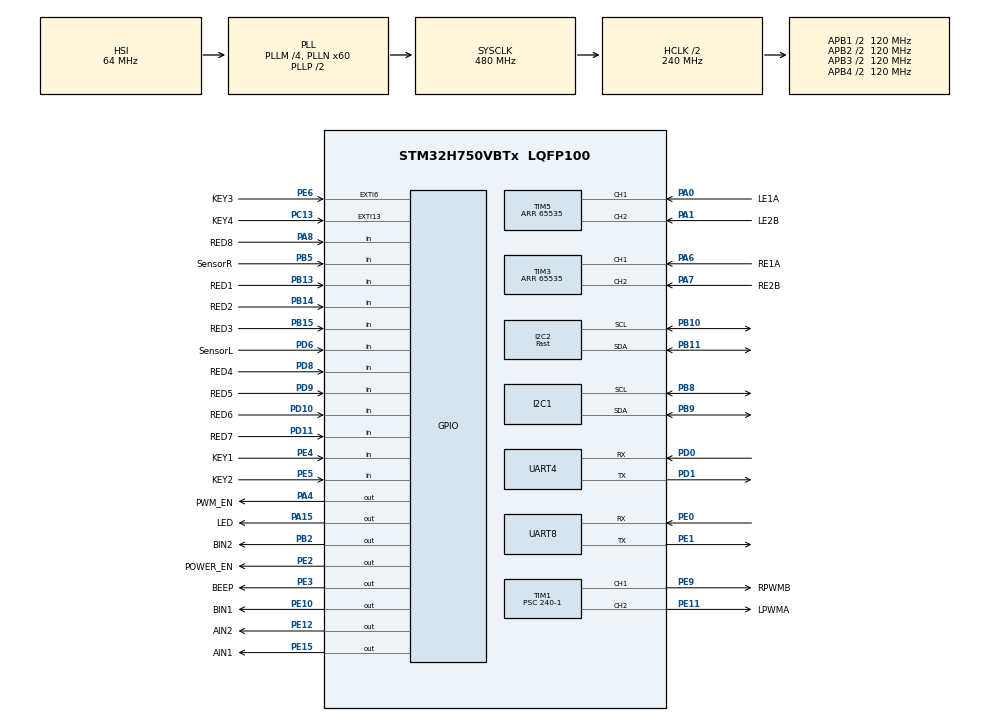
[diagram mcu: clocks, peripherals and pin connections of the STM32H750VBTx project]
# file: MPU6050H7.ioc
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CORTEX_M7.default_mode_Activation=1
Dma.Request0=UART4_RX
Dma.Request1=UART4_TX
Dma.UART4_RX.0.Direction=DMA_PERIPH_TO_MEMORY
Dma.UART4_RX.0.EventEnable=DISABLE
Dma.UART4_RX.0.FIFOMode=DMA_FIFOMODE_DISABLE
Dma.UART4_RX.0.Instance=DMA1_Stream0
Dma.UART4_RX.0.MemDataAlignment=DMA_MDATAALIGN_BYTE
Dma.UART4_RX.0.MemInc=DMA_MINC_ENABLE
Dma.UART4_RX.0.Mode=DMA_NORMAL
Dma.UART4_RX.0.PeriphDataAlignment=DMA_PDATAALIGN_BYTE
Dma.UART4_RX.0.PeriphInc=DMA_PINC_DISABLE
Dma.UART4_RX.0.Polarity=HAL_DMAMUX_REQ_GEN_RISING
Dma.UART4_RX.0.Priority=DMA_PRIORITY_LOW
Dma.UART4_RX.0.RequestNumber=1
Dma.UART4_RX.0.SignalID=NONE
Dma.UART4_RX.0.SyncEnable=DISABLE
Dma.UART4_RX.0.SyncPolarity=HAL_DMAMUX_SYNC_NO_EVENT
Dma.UART4_RX.0.SyncRequestNumber=1
Dma.UART4_RX.0.SyncSignalID=NONE
Dma.UART4_TX.1.Direction=DMA_MEMORY_TO_PERIPH
Dma.UART4_TX.1.EventEnable=DISABLE
Dma.UART4_TX.1.FIFOMode=DMA_FIFOMODE_DISABLE
Dma.UART4_TX.1.Instance=DMA1_Stream1
Dma.UART4_TX.1.MemDataAlignment=DMA_MDATAALIGN_BYTE
Dma.UART4_TX.1.MemInc=DMA_MINC_ENABLE
Dma.UART4_TX.1.Mode=DMA_NORMAL
Dma.UART4_TX.1.PeriphDataAlignment=DMA_PDATAALIGN_BYTE
Dma.UART4_TX.1.PeriphInc=DMA_PINC_DISABLE
Dma.UART4_TX.1.Polarity=HAL_DMAMUX_REQ_GEN_RISING
Dma.UART4_TX.1.Priority=DMA_PRIORITY_LOW
Dma.UART4_TX.1.RequestNumber=1
Dma.UART4_TX.1.SignalID=NONE
Dma.UART4_TX.1.SyncEnable=DISABLE
Dma.UART4_TX.1.SyncPolarity=HAL_DMAMUX_SYNC_NO_EVENT
Dma.UART4_TX.1.SyncRequestNumber=1
Dma.UART4_TX.1.SyncSignalID=NONE
I2C1.Timing=0x307075B1
I2C2.I2C_Speed_Mode=I2C_Fast
I2C2.Timing=0x00B03FDB
Mcu.Family=STM32H7
Mcu.Name=STM32H750VBTx
Mcu.Package=LQFP100
NVIC.DMA1_Stream0_IRQn=true\:0\:0\:false\:false\:true\:false\:true\:true
NVIC.DMA1_Stream1_IRQn=true\:0\:0\:false\:false\:true\:false\:true\:true
NVIC.EXTI15_10_IRQn=true\:0\:0\:false\:false\:true\:true\:true\:true
NVIC.EXTI9_5_IRQn=true\:0\:0\:false\:false\:true\:true\:true\:true
NVIC.PriorityGroup=NVIC_PRIORITYGROUP_4
NVIC.TIM6_DAC_IRQn=true\:0\:0\:false\:false\:true\:true\:true\:true
NVIC.UART4_IRQn=true\:0\:0\:false\:false\:true\:true\:true\:true
NVIC.UART8_IRQn=true\:0\:0\:false\:false\:true\:true\:true\:true
PA0.GPIO_Label=LE1A
PA0.Signal=S_TIM5_CH1
PA1.GPIO_Label=LE2B
PA1.Signal=S_TIM5_CH2
PA15\ (JTDI).GPIO_Label=LED
PA15\ (JTDI).PinState=GPIO_PIN_RESET
PA15\ (JTDI).Signal=GPIO_Output
PA4.GPIO_Label=PWM_EN
PA4.PinState=GPIO_PIN_SET
PA4.Signal=GPIO_Output
PA6.GPIO_Label=RE1A
PA6.Signal=S_TIM3_CH1
PA7.GPIO_Label=RE2B
PA7.Signal=S_TIM3_CH2
PA8.GPIO_Label=RED8
PA8.Signal=GPIO_Input
PB10.Mode=I2C
PB10.Signal=I2C2_SCL
PB11.Mode=I2C
PB11.Signal=I2C2_SDA
PB13.GPIO_Label=RED1
PB13.Signal=GPIO_Input
PB14.GPIO_Label=RED2
PB14.Signal=GPIO_Input
PB15.GPIO_Label=RED3
PB15.Signal=GPIO_Input
PB2.GPIO_Label=BIN2
PB2.Signal=GPIO_Output
PB5.GPIO_Label=SensorR
PB5.GPIO_PuPd=GPIO_PULLDOWN
PB5.Signal=GPIO_Input
PB8.Mode=I2C
PB8.Signal=I2C1_SCL
PB9.Mode=I2C
PB9.Signal=I2C1_SDA
PC13.GPIO_Label=KEY4
PC13.GPIO_ModeDefaultEXTI=GPIO_MODE_IT_FALLING
PC13.Signal=GPXTI13
PD0.Mode=Asynchronous
PD0.Signal=UART4_RX
PD1.Mode=Asynchronous
PD1.Signal=UART4_TX
PD10.GPIO_Label=RED6
PD10.Signal=GPIO_Input
PD11.GPIO_Label=RED7
PD11.Signal=GPIO_Input
PD6.GPIO_Label=SensorL
PD6.GPIO_PuPd=GPIO_PULLDOWN
PD6.Signal=GPIO_Input
PD8.GPIO_Label=RED4
PD8.Signal=GPIO_Input
PD9.GPIO_Label=RED5
PD9.Signal=GPIO_Input
PE0.Mode=Asynchronous
PE0.Signal=UART8_RX
PE1.Mode=Asynchronous
PE1.Signal=UART8_TX
PE10.GPIO_Label=BIN1
PE10.Signal=GPIO_Output
PE11.GPIO_Label=LPWMA
PE11.Signal=S_TIM1_CH2
PE12.GPIO_Label=AIN2
PE12.Signal=GPIO_Output
PE15.GPIO_Label=AIN1
PE15.Signal=GPIO_Output
PE2.GPIO_Label=POWER_EN
PE2.PinState=GPIO_PIN_SET
PE2.Signal=GPIO_Output
PE3.GPIO_Label=BEEP
PE3.Signal=GPIO_Output
PE4.GPIO_Label=KEY1
PE4.Signal=GPIO_Input
PE5.GPIO_Label=KEY2
PE5.Signal=GPIO_Input
PE6.GPIO_Label=KEY3
PE6.GPIO_ModeDefaultEXTI=GPIO_MODE_IT_FALLING
PE6.Signal=GPXTI6
PE9.GPIO_Label=RPWMB
PE9.Signal=S_TIM1_CH1
PH0-OSC_IN\ (PH0).Mode=HSE-External-Oscillator
PH0-OSC_IN\ (PH0).Signal=RCC_OSC_IN
PH1-OSC_OUT\ (PH1).Mode=HSE-External-Oscillator
PH1-OSC_OUT\ (PH1).Signal=RCC_OSC_OUT
ProjectManager.HeapSize=0x200
ProjectManager.StackSize=0x400
ProjectManager.TargetToolchain=MDK-ARM V5.32
RCC.ADCFreq_Value=129000000
RCC.APB1Freq_Value=120000000
RCC.APB2Freq_Value=120000000
RCC.APB3Freq_Value=120000000
RCC.APB4Freq_Value=120000000
RCC.CortexFreq_Value=480000000
RCC.D1PPRE=RCC_APB3_DIV2
RCC.D2PPRE1=RCC_APB1_DIV2
RCC.D2PPRE2=RCC_APB2_DIV2
RCC.D3PPRE=RCC_APB4_DIV2
RCC.DIVM1=4
RCC.DIVN1=60
RCC.HCLKFreq_Value=240000000
RCC.HPRE=RCC_HCLK_DIV2
RCC.PLL2FRACN=0
RCC.PLL3FRACN=0
RCC.PLLFRACN=0
RCC.SYSCLKFreq_VALUE=480000000
RCC.SYSCLKSource=RCC_SYSCLKSOURCE_PLLCLK
RCC.USBFreq_Value=480000000
SH.S_TIM1_CH1.0=TIM1_CH1,PWM Generation1 CH1
SH.S_TIM1_CH2.0=TIM1_CH2,PWM Generation2 CH2
SH.S_TIM3_CH1.0=TIM3_CH1,Encoder_Interface
SH.S_TIM3_CH2.0=TIM3_CH2,Encoder_Interface
SH.S_TIM5_CH1.0=TIM5_CH1,Encoder_Interface
SH.S_TIM5_CH2.0=TIM5_CH2,Encoder_Interface
TIM1.Channel-PWM\ Generation1\ CH1=TIM_CHANNEL_1
TIM1.Channel-PWM\ Generation2\ CH2=TIM_CHANNEL_2
TIM1.Period=1000-1
TIM1.Prescaler=240-1
TIM3.EncoderMode=TIM_ENCODERMODE_TI12
TIM3.IC1Filter=8
TIM3.IC2Filter=8
TIM3.IC2Polarity=TIM_ICPOLARITY_FALLING
TIM3.Period=65535
TIM5.CounterMode=TIM_COUNTERMODE_UP
TIM5.EncoderMode=TIM_ENCODERMODE_TI12
TIM5.IC1Filter=8
TIM5.IC1Polarity=TIM_ICPOLARITY_RISING
TIM5.IC2Filter=8
TIM5.IC2Polarity=TIM_ICPOLARITY_RISING
TIM5.Period=65535
TIM6.Period=1000-1
TIM6.Prescaler=240-1
VP_MEMORYMAP_VS_MEMORYMAP.Mode=CurAppReg
VP_TIM1_VS_ClockSourceINT.Mode=Internal
VP_TIM6_VS_ClockSourceINT.Mode=Enable_Timer
board=custom

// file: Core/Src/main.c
/* USER CODE BEGIN Header */
/**
  ******************************************************************************
  * @file           : main.c  - 重构v2: 纯接口调度器
  ******************************************************************************
  */
/* USER CODE END Header */
#include "main.h"
#include "dma.h"
#include "i2c.h"
#include "tim.h"
#include "usart.h"
#include "gpio.h"

/* USER CODE BEGIN Includes */
#include <stdio.h>

/* --- HAL 抽象接口 (纯虚) --- */
#include "HAL/imu.h"
#include "HAL/display.h"
#include "HAL/logger.h"
#include "HAL/command.h"
#include "HAL/app_mode.h"
#include "HAL/chassis.h"

/* --- Adapters 注入 (只在main.c出现一次) --- */
#include "Adapters/imu_mpu6050.h"
#include "Adapters/disp_oled.h"
#include "Adapters/log_uart.h"
#include "Adapters/cmd_keys.h"
#include "Adapters/cmd_serial.h"
#include "Adapters/chassis.h"
#include "Adapters/line_track.h"
#include "Adapters/turn_ctrl.h"

/* --- App 模式 --- */
#include "mode_lap_run.h"
/* USER CODE END Includes */

/* USER CODE BEGIN PV */
/* --- 依赖注入: 接口指针指向具体实现 --- */
IMU      *g_imu     = &g_imu_mpu6050;
Display  *g_disp    = &g_disp_oled;
Logger   *g_log     = &g_log_uart;
Chassis  *g_chassis = &g_chassis_inst;
Tracker  *g_tracker = &g_tracker_inst;
TurnCtrl *g_turn    = &g_turn_ctrl_inst;

/* --- 命令源 --- */
static CommandSource *g_sources[] = { &g_src_keys, &g_src_serial };
#define SRC_COUNT 2

/* --- 模式注册 (加新模式只需加一行) --- */
static const AppMode *g_modes[] = { &mode_lap_run };
#define MODE_COUNT 1
static uint8_t g_cur_mode = 0;
/* USER CODE END PV */

void SystemClock_Config(void);
static void MPU_Config(void);

/* USER CODE BEGIN 0 */
void HAL_TIM_PeriodElapsedCallback(TIM_HandleTypeDef *htim)
{
    static uint8_t tick_1ms = 0;
    if (htim != &htim6) return;
    tick_1ms++;
    if (tick_1ms >= 10) {
        tick_1ms = 0;
        g_imu->update();
        g_chassis->update();             /* PID闭环 */
        g_modes[g_cur_mode]->on_isr();
    }
}
/* USER CODE END 0 */

int main(void)
{

  /* MPU Configuration--------------------------------------------------------*/
  MPU_Config();

  /* MCU Configuration--------------------------------------------------------*/

  /* Reset of all peripherals, Initializes the Flash interface and the Systick. */
  HAL_Init();

  /* Configure the system clock */
  SystemClock_Config();

  /* Initialize all configured peripherals */
  MX_GPIO_Init();
  MX_DMA_Init();
  MX_I2C1_Init();
  MX_I2C2_Init();
  MX_TIM1_Init();
  MX_TIM3_Init();
  MX_TIM5_Init();
  MX_TIM6_Init();
  MX_UART8_Init();
  MX_UART4_Init();
  /* USER CODE BEGIN 2 */
  g_disp->init();
  while (g_imu->init()) {
    HAL_GPIO_TogglePin(LED_GPIO_Port, LED_Pin);
    HAL_Delay(499);
  }
  g_imu->calibrate(500);
  HAL_Delay(999);
  g_chassis->init();
  g_turn->init(g_turn);
  setvbuf(stdout, NULL, _IONBF, 0);  /* printf无缓冲, 实时输出 */
  CmdSerial_Init();
  HAL_TIM_Base_Start_IT(&htim6);

  g_modes[g_cur_mode]->on_enter();
  /* USER CODE END 2 */

  /* Infinite loop */
  while (1)
  {

    /* USER CODE BEGIN 3 */
    /* --- 轮询命令源 --- */
    Command cmd = CMD_NONE;
    char    cmd_data = 0;
    for (int i = 0; i < SRC_COUNT; i++) {
        char d = 0;
        Command c = g_sources[i]->poll(&d);
        if (c != CMD_NONE) { cmd = c; cmd_data = d; }
    }

    if (cmd == CMD_NEXT) {
        g_cur_mode = (g_cur_mode + 1) % MODE_COUNT;
        g_modes[g_cur_mode]->on_enter();
        HAL_Delay(5);  /* 无线模块TX/RX切换延时 */
        printf("[ACK] mode=%s\r\n", g_modes[g_cur_mode]->name);
        fflush(stdout);
    }
    else if (cmd != CMD_NONE) {
        g_modes[g_cur_mode]->on_command(cmd, cmd_data);
        HAL_Delay(5);
        if (cmd == CMD_CUSTOM)
            printf("[ACK] cmd='%s'\r\n", CmdSerial_GetString());
        else
            printf("[ACK] cmd=%d\r\n", (int)cmd);
        fflush(stdout);
    }

    g_modes[g_cur_mode]->on_ui();
    HAL_Delay(10);
  }
  /* USER CODE END 3 */
}

void SystemClock_Config(void)
{
  RCC_OscInitTypeDef RCC_OscInitStruct = {0};
  RCC_ClkInitTypeDef RCC_ClkInitStruct = {0};

  /** Supply configuration update enable
  */
  HAL_PWREx_ConfigSupply(PWR_LDO_SUPPLY);

  /** Configure the main internal regulator output voltage
  */
  __HAL_PWR_VOLTAGESCALING_CONFIG(PWR_REGULATOR_VOLTAGE_SCALE0);

  while(!__HAL_PWR_GET_FLAG(PWR_FLAG_VOSRDY)) {}

  /** Initializes the RCC Oscillators according to the specified parameters
  * in the RCC_OscInitTypeDef structure.
  */
  RCC_OscInitStruct.OscillatorType = RCC_OSCILLATORTYPE_HSI;
  RCC_OscInitStruct.HSIState = RCC_HSI_DIV1;
  RCC_OscInitStruct.HSICalibrationValue = RCC_HSICALIBRATION_DEFAULT;
  RCC_OscInitStruct.PLL.PLLState = RCC_PLL_ON;
  RCC_OscInitStruct.PLL.PLLSource = RCC_PLLSOURCE_HSI;
  RCC_OscInitStruct.PLL.PLLM = 4;
  RCC_OscInitStruct.PLL.PLLN = 60;
  RCC_OscInitStruct.PLL.PLLP = 2;
  RCC_OscInitStruct.PLL.PLLQ = 2;
  RCC_OscInitStruct.PLL.PLLR = 2;
  RCC_OscInitStruct.PLL.PLLRGE = RCC_PLL1VCIRANGE_3;
  RCC_OscInitStruct.PLL.PLLVCOSEL = RCC_PLL1VCOWIDE;
  RCC_OscInitStruct.PLL.PLLFRACN = 0;
  if (HAL_RCC_OscConfig(&RCC_OscInitStruct) != HAL_OK)
  {
    Error_Handler();
  }

  /** Initializes the CPU, AHB and APB buses clocks
  */
  RCC_ClkInitStruct.ClockType = RCC_CLOCKTYPE_HCLK|RCC_CLOCKTYPE_SYSCLK
                              |RCC_CLOCKTYPE_PCLK1|RCC_CLOCKTYPE_PCLK2
                              |RCC_CLOCKTYPE_D3PCLK1|RCC_CLOCKTYPE_D1PCLK1;
  RCC_ClkInitStruct.SYSCLKSource = RCC_SYSCLKSOURCE_PLLCLK;
  RCC_ClkInitStruct.SYSCLKDivider = RCC_SYSCLK_DIV1;
  RCC_ClkInitStruct.AHBCLKDivider = RCC_HCLK_DIV2;
  RCC_ClkInitStruct.APB3CLKDivider = RCC_APB3_DIV2;
  RCC_ClkInitStruct.APB1CLKDivider = RCC_APB1_DIV2;
  RCC_ClkInitStruct.APB2CLKDivider = RCC_APB2_DIV2;
  RCC_ClkInitStruct.APB4CLKDivider = RCC_APB4_DIV2;

  if (HAL_RCC_ClockConfig(&RCC_ClkInitStruct, FLASH_LATENCY_4) != HAL_OK)
  {
    Error_Handler();
  }
}

 /* MPU Configuration */

void MPU_Config(void)
{
  MPU_Region_InitTypeDef MPU_InitStruct = {0};

  /* Disables the MPU */
  HAL_MPU_Disable();

  /** Initializes and configures the Region and the memory to be protected
  */
  MPU_InitStruct.Enable = MPU_REGION_ENABLE;
  MPU_InitStruct.Number = MPU_REGION_NUMBER0;
  MPU_InitStruct.BaseAddress = 0x0;
  MPU_InitStruct.Size = MPU_REGION_SIZE_4GB;
  MPU_InitStruct.SubRegionDisable = 0x87;
  MPU_InitStruct.TypeExtField = MPU_TEX_LEVEL0;
  MPU_InitStruct.AccessPermission = MPU_REGION_NO_ACCESS;
  MPU_InitStruct.DisableExec = MPU_INSTRUCTION_ACCESS_DISABLE;
  MPU_InitStruct.IsShareable = MPU_ACCESS_SHAREABLE;
  MPU_InitStruct.IsCacheable = MPU_ACCESS_NOT_CACHEABLE;
  MPU_InitStruct.IsBufferable = MPU_ACCESS_NOT_BUFFERABLE;

  HAL_MPU_ConfigRegion(&MPU_InitStruct);
  /* Enables the MPU */
  HAL_MPU_Enable(MPU_PRIVILEGED_DEFAULT);

}

void Error_Handler(void)
{
  __disable_irq();
  while (1)
  {
  }
}
